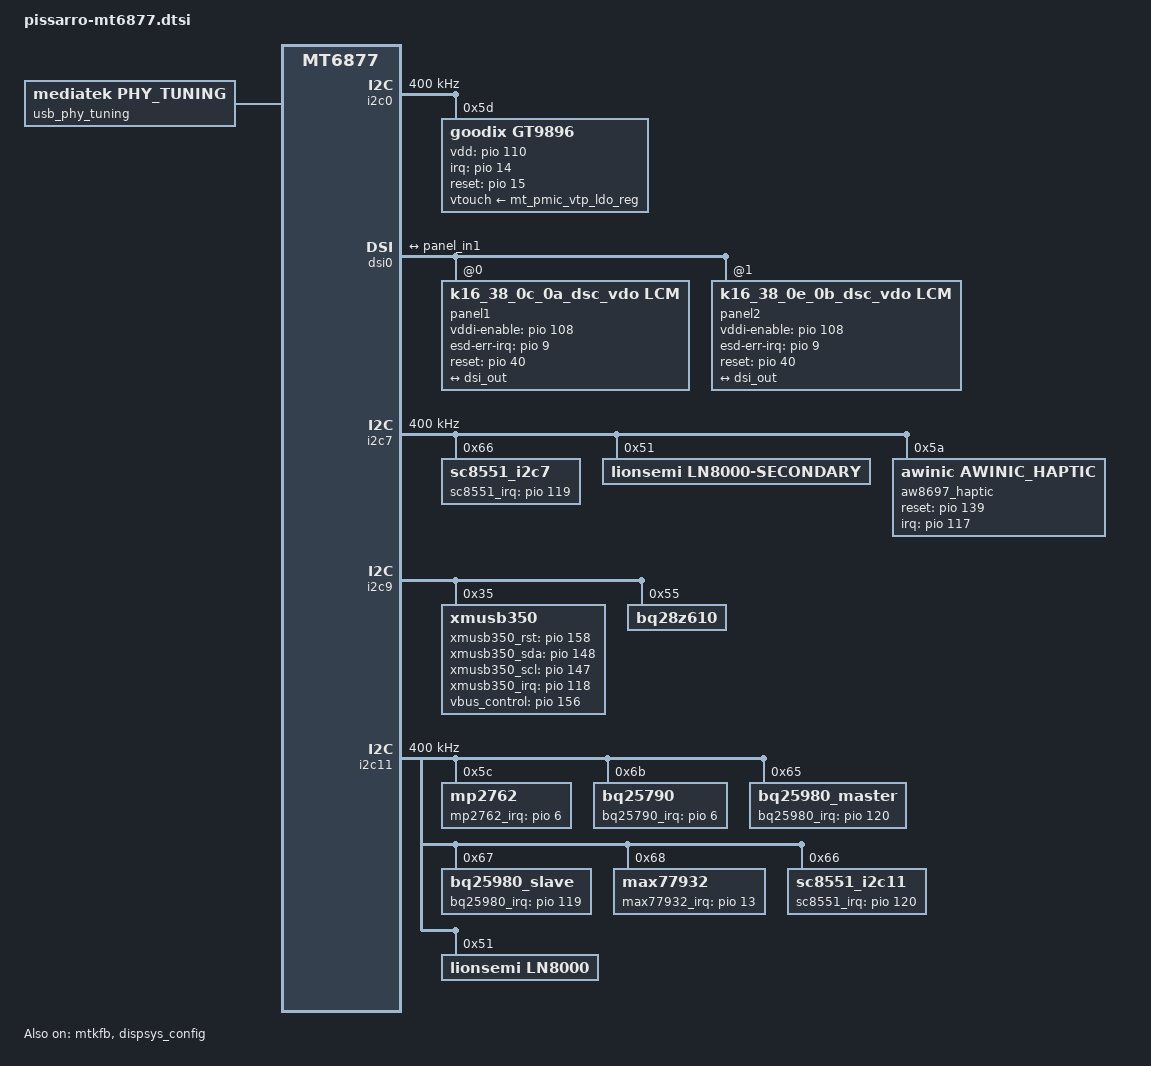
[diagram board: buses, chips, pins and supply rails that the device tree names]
/*
this file is only for attribution of pissarro
*/
#include "mediatek/xiaomi-mt6877-common.dtsi"


&odm {
	thermal_message: thermal-message {
		board-sensor = "VIRTUAL-SENSOR";
	};
};

&i2c0 {
	clock-frequency = <400000>;

	gt9896@5d {
		compatible = "goodix,gt9896";
		reg = <0x5d>;
		status = "ok";
		mediatek,kthread-rt = <1>;
		interrupt-parent = <&pio>;
		interrupts = <14 IRQ_TYPE_EDGE_FALLING 14 0>;
		pinctrl-names = "pmx_ts_active", "pmx_ts_suspend", "pmx_ts_boot";
		//pinctrl-names = "pmx_ts_active", "pmx_ts_suspend";
		//pinctrl-0 = <&ctp_gt9896_ts_int_active &ctp_gt9896_ts_reset_active>;
		pinctrl-0 = <&ctp_gt9896_ts_int_active>;
		pinctrl-1 = <&ctp_gt9896_ts_int_suspend &ctp_gt9896_ts_reset_suspend>;
		pinctrl-2 = <&ctp_gt9896_ts_int_boot>;
		vtouch-supply = <&mt_pmic_vtp_ldo_reg>;//3v3
		goodix,vdd-gpio = <&pio 110 0x0>;//1v8
		goodix,avdd-name = "vtouch";
		goodix,irq-gpio = <&pio 14 0x0>;
		goodix,reset-gpio = <&pio 15 0x0>;
		goodix,irq-flags = <2>; /* 1:rising, 2:falling;*/
		goodix,panel-max-id = <10>;
		goodix,panel-max-w = <256>;
		goodix,panel-max-p = <256>;
		goodix,panel-max-x = <8640>;
		goodix,panel-max-y = <19200>;
		//goodix,panel-key-map = <158 172 217>; /*BACK,HOMEPAGE,SEARCH*/
		goodix,power-on-delay-us = <100>; /*10ms*/
		goodix,power-off-delay-us = <5000>;
		goodix,firmware-version = "6885b1";
		goodix,config-version = "6885v9c";
		/*goodix,swap-axis;*/
		/*goodix,x2x;*/
		/*goodix,y2y;*/
		//goodix,pen-enable;
		//goodix,key-of-pen = <331 332>;/*BTN_STYLUS, BTN_STYLUS2*/
		tpd-filter-enable = <0>;
		tpd-filter-pixel-density = <161>;
		tpd-filter-custom-prameters = <0 0 0 0 0 0 0 0 0 0 0 0>;
		tpd-filter-custom-speed = <0 0 0>;
		/*new touch faeature default param*/
		goodix,touch-game-param-config1 = <3 3 1 3>;
		goodix,touch-game-param-config2 = <2 4 2 3>;
		goodix,touch-game-param-config3 = <4 4 3 1>;
		sensor0 {
			normal-cfg = [
			];
		};
	};
};

&pio {
	ctp_pins_default_gt9896: eintdefault {
	};
	ctp_gt9896_ts_int_active: int_active {
		pins_cmd_dat {
			pinmux = <PINMUX_GPIO14__FUNC_GPIO14>;
			slew-rate = <0>;
			bias-disable;
			/*bias-pull-up = <11>;*/
		};
	};
	//ctp_gt9896_ts_reset_active: reset_active {
	//	pins_cmd_dat {
	//		pinmux = <PINMUX_GPIO15__FUNC_GPIO15>;
	//		slew-rate = <1>;
	//		output-high;
	//	};
	//};
	ctp_gt9896_ts_int_suspend: int_suspend {
		pins_cmd_dat {
			pinmux = <PINMUX_GPIO14__FUNC_GPIO14>;
			slew-rate = <1>;
			output-low;
		};
	};
	ctp_gt9896_ts_reset_suspend: reset_suspend {
		pins_cmd_dat {
			pinmux = <PINMUX_GPIO15__FUNC_GPIO15>;
			slew-rate = <1>;
			output-low;
		};
	};
	ctp_gt9896_ts_int_boot: int_boot {
		pins_cmd_dat {
			pinmux = <PINMUX_GPIO14__FUNC_GPIO14>;
			slew-rate = <0>;
			bias-disable;
		};
	};
};

&pio {
	// ln8000-master
	ln8000_master_int_default: ln8000_master_int_default {
		pins_cmd_dat {
			pinmux = <PINMUX_GPIO120__FUNC_GPIO120>;
			slew-rate = <0>;
			bias-pull-up = <11>;
		};
	};

	ln8000_master_int_suspend: ln8000_master_int_suspend {
		pins_cmd_dat {
			pinmux = <PINMUX_GPIO120__FUNC_GPIO120>;
			slew-rate = <0>;
			bias-pull-up = <11>;
		};
	};

	// ln8000-slave
	ln8000_slave_int_default: ln8000_slave_int_default {
		pins_cmd_dat {
			pinmux = <PINMUX_GPIO119__FUNC_GPIO119>;
			slew-rate = <0>;
			bias-pull-up = <11>;
		};
	};

	ln8000_slave_int_suspend: ln8000slave_int_suspend {
		pins_cmd_dat {
			pinmux = <PINMUX_GPIO119__FUNC_GPIO119>;
			slew-rate = <0>;
			bias-pull-up = <11>;
		};
	};

	xmusb350_rst_normal: xmusb350_rst_normal {
		pins_cmd_dat {
			pinmux = <PINMUX_GPIO158__FUNC_GPIO158>;
			slew-rate = <1>;
			bias-disable;
			output-low;
		};
	};

	xmusb350_rst_isp: xmusb350_rst_isp {
		pins_cmd_dat {
			pinmux = <PINMUX_GPIO158__FUNC_GPIO158>;
			slew-rate = <1>;
			bias-disable;
			output-low;
		};
	};

	xmusb350_sda_normal: xmusb350_sda_normal {
		pins_cmd_dat {
			pinmux = <PINMUX_GPIO148__FUNC_SDA9>;
			slew-rate = <0>;
			bias-pull-up = <11>;
			input-enable;
		};
	};

	xmusb350_sda_isp: xmusb350_sda_isp {
		pins_cmd_dat {
			pinmux = <PINMUX_GPIO148__FUNC_GPIO148>;
			slew-rate = <1>;
			bias-disable;
			output-low;
		};
	};

	xmusb350_scl_normal: xmusb350_scl_normal {
		pins_cmd_dat {
			pinmux = <PINMUX_GPIO147__FUNC_SCL9>;
			slew-rate = <0>;
			bias-pull-up = <11>;
			input-enable;
		};
	};

	xmusb350_scl_isp: xmusb350_scl_isp {
		pins_cmd_dat {
			pinmux = <PINMUX_GPIO147__FUNC_GPIO147>;
			slew-rate = <1>;
			bias-disable;
			output-low;
		};
	};

	i2c11_sda_default: i2c11_sda_default {
		pins_cmd_dat {
			pinmux = <PINMUX_GPIO63__FUNC_SDA11>;
			input-enable;
		};
	};

	i2c11_sda_gpio: i2c11_sda_gpio {
		pins_cmd_dat {
			pinmux = <PINMUX_GPIO63__FUNC_GPIO63>;
			output-low;
		};
	};
};

&mtkfb {
	pinctrl-names = "lcm_rst_out1_gpio", "lcm_rst_out0_gpio",
		"mode_te_te", "err_flag_init";
	pinctrl-0 = <&mtkfb_pins_lcm_rst_out1_gpio>;
	pinctrl-1 = <&mtkfb_pins_lcm_rst_out0_gpio>;
	pinctrl-2 = <&mtkfb_pins_lcm_dsi_te>;
	pinctrl-3 = <&mtkfb_pins_lcm_err_flag>;
	status = "okay";
};

&dispsys_config {
	pinctrl-names =
		"lcm_rst_out1_gpio", "lcm_rst_out0_gpio",
		"mode_te_te", "err_flag_init";
	pinctrl-0 = <&mtkfb_pins_lcm_rst_out1_gpio>;
	pinctrl-1 = <&mtkfb_pins_lcm_rst_out0_gpio>;
	pinctrl-2 = <&mtkfb_pins_lcm_dsi_te>;
	pinctrl-3 = <&mtkfb_pins_lcm_err_flag>;
	status = "okay";
};

&dsi0 {
	status = "okay";
	#address-cells = <1>;
	#size-cells = <0>;
	panel1@0 {
		compatible = "k16_38_0c_0a_dsc_vdo,lcm";
		reg = <0>;
		vddi-enable-gpios = <&pio 108 0>;
		mi,esd-err-irq-gpio = <&pio 9 0x2002>;
		reset-gpios = <&pio 40 0>;
		pinctrl-names = "default";
		port {
			panel_in1: endpoint {
				remote-endpoint = <&dsi_out>;
			};
		};
	};
	panel2@1 {
		compatible = "k16_38_0e_0b_dsc_vdo,lcm";
		reg = <1>;
		vddi-enable-gpios = <&pio 108 0>;
		mi,esd-err-irq-gpio = <&pio 9 0x2002>;
		reset-gpios = <&pio 40 0>;
		pinctrl-names = "default";
		port {
			panel_in2: endpoint {
				remote-endpoint = <&dsi_out>;
			};
		};
	};
	ports {
		port {
			dsi_out: endpoint {
				remote-endpoint = <&panel_in1>;
			};
		};
	};
};

&bat_gm30 {
	DISABLE_MTKBATTERY = <(1)>;
	use-ti-gauge;
};

&i2c7 {
	sc8551_i2c7@66 {
		compatible = "sc8551_i2c7";
		reg = <0x66>;
		sc8551_irq_gpio = <&pio 119 0x0>;
		ac_ovp = <13000>;
		bus_ovp = <12300>;
		bus_ocp = <4500>;
		bat_ovp = <5000>;
		bat_ocp = <8000>;
	};

	ln8000-secondary@51 {
		compatible = "lionsemi,ln8000-secondary";
		reg = <0x51>;
		pinctrl-names = "ln8000_slave_irq";
		pinctrl-0 = <&ln8000_slave_int_default &ln8000_slave_int_suspend>;

		charger_name = "quaternary_chg";
		/* bank <bit-idx> <flags: active-low> */
		//irq-gpios = <&tlmm 55 0x2002>;

		//interrupt-parent = <&tlmm>;
		//interrupts = <55 0x2002>;
		//pinctrl-names = "default";
		//pinctrl-0 = <&ln8000_int_default &ln8000_int_suspend>;
		//ln8000_charger,irq_index = <296>;
		/* device configuration */
		ln8000_charger,bat-ovp-threshold = <4660>;
		ln8000_charger,bat-ovp-alarm-threshold = <4625>;
		ln8000_charger,bus-ovp-threshold = <13000>;
		ln8000_charger,bus-ovp-alarm-threshold = <11000>;
		ln8000_charger,bus-ocp-threshold = <3750>;
		ln8000_charger,bus-ocp-alarm-threshold = <3500>;
		ln8000_charger,ntc-alarm-cfg  = <226>;
		/* protection enable/disable flags
		 *   vbat-ovp-disable
		 *   vbat-reg-disable
		 *   iin-ocp-disable
		 *   iin-reg-disable
		 *   tbus-mon-disable
		 *   tbat-mon-disable
		 *   tdie-prot-disable
		 *   tdie-reg-disable
		 *   revcurr-prot-disable
		 */
		ln8000_charger,tdie-prot-disable;
		ln8000_charger,tbus-mon-disable;
		ln8000_charger,tbat-mon-disable;
		ln8000_charger,iin-ocp-disable;
		ln8000_charger,iin-reg-disable;
		ln8000_charger,tdie-reg-disable;
		ln8000_charger,vbat-reg-disable;
	};
};

&i2c9 {
	xmusb350@35 {
		compatible = "xmusb350";
		reg = <0x35>;
		pinctrl-names = "xmusb350_normal", "xmusb350_isp";
		pinctrl-0 = <&xmusb350_rst_normal &xmusb350_sda_normal &xmusb350_scl_normal>;
		pinctrl-1 = <&xmusb350_rst_isp &xmusb350_sda_isp &xmusb350_scl_isp>;
		xmusb350_rst_gpio = <&pio 158 0x00>;
		xmusb350_sda_gpio = <&pio 148 0x00>;
		xmusb350_scl_gpio = <&pio 147 0x00>;
		xmusb350_irq_gpio = <&pio 118 0x0>;
		vbus_control_gpio = <&pio 156 0x0>;
	};

	bq28z610@55 {
		compatible = "bq28z610";
		reg = <0x55>;
		enable_shutdown_delay;
		normal_shutdown_vbat_1s = <3400>;
		critical_shutdown_vbat_1s = <3340>;
		report_full_rsoc_1s = <9700>;
		soc_gap_1s = <2>;
		normal_shutdown_vbat_2s = <6800>;
		critical_shutdown_vbat_2s = <6680>;
		report_full_rsoc_2s = <9470>;
		soc_gap_2s = <4>;
		soc_decimal_rate = <
			0  38
			10 35
			20 33
			30 33
			40 33
			50 33
			60 33
			70 30
			80 25
			90 20
			95 10 >;
	};
};

&i2c11 {
	clock-frequency = <400000>;

	mp2762@5c {
		compatible = "mp2762";
		reg = <0x5c>;
		mp2762_irq_gpio = <&pio 6 0x0>;
		iprechg = <240>;
		vprechg = <6000>;
		iterm = <100>;
		iterm_ffc = <700>;
		fv = <8900>;
		fv_ffc = <8950>;
		vinmin = <4700>;
	};

	bq25790@6b {
		compatible = "bq25790";
		reg = <0x6b>;
		bq25790_irq_gpio = <&pio 6 0x0>;
		precharge-current = <160>;
		termi-curr = <200>;
		safe_timer_en = <1>;
		safe_timer = <12>;
		presafe_timer = <120>;
		vac_ovp = <26>;
		cell_num = <2>;
		vsys_min = <6400>;
	};

	bq25980_master@65 {
		compatible = "bq25980_master";
		reg = <0x65>;
		bq25980_irq_gpio = <&pio 120 0x0>;
		pinctrl-names = "i2c11_sda_default", "i2c11_sda_gpio";
		pinctrl-0 = <&i2c11_sda_default>;
		pinctrl-1 = <&i2c11_sda_gpio>;
		status = "okay";
	};

	bq25980_slave@67 {
		compatible = "bq25980_slave";
		reg = <0x67>;
		bq25980_irq_gpio = <&pio 119 0x0>;
	};

	max77932@68 {
		compatible = "max77932";
		reg = <0x68>;
		max77932_irq_gpio = <&pio 13 0x0>;
	};

	sc8551_i2c11@66 {
		compatible = "sc8551_i2c11";
		reg = <0x66>;
		sc8551_irq_gpio = <&pio 120 0x0>;
		ac_ovp = <13000>;
		bus_ovp = <12300>;
		bus_ocp = <4500>;
		bat_ovp = <5000>;
		bat_ocp = <8000>;
	};

	ln8000@51 {
		compatible = "lionsemi,ln8000";
		reg = <0x51>;
		/* bank <bit-idx> <flags: active-low> */
		//irq-gpios = <&tlmm 55 0x2002>;
		pinctrl-names = "ln8000_master_irq";
		pinctrl-0 = <&ln8000_master_int_default &ln8000_master_int_suspend>;

		charger_name = "tertiary_chg";

		//interrupt-parent = <&tlmm>;
		//interrupts = <55 0x2002>;
		//pinctrl-names = "default";
		//pinctrl-0 = <&ln8000_int_default ln8000_int_suspend>;
		ln8000_charger,irq_index = <296>;
		/* device configuration */
		ln8000_charger,bat-ovp-threshold = <4660>;
		ln8000_charger,bat-ovp-alarm-threshold = <4625>;
		ln8000_charger,bus-ovp-threshold = <13000>;
		ln8000_charger,bus-ovp-alarm-threshold = <11000>;
		ln8000_charger,bus-ocp-threshold = <3750>;
		ln8000_charger,bus-ocp-alarm-threshold = <3500>;
		ln8000_charger,ntc-alarm-cfg  = <226>;
		/* protection enable/disable flags
		 *   vbat-ovp-disable
		 *   vbat-reg-disable
		 *   iin-ocp-disable
		 *   iin-reg-disable
		 *   tbus-mon-disable
		 *   tbat-mon-disable
		 *   tdie-prot-disable
		 *   tdie-reg-disable
		 *   revcurr-prot-disable
		 */
		ln8000_charger,tdie-prot-disable;
		ln8000_charger,tbus-mon-disable;
		ln8000_charger,tbat-mon-disable;
		ln8000_charger,iin-ocp-disable;
		ln8000_charger,iin-reg-disable;
		ln8000_charger,tdie-reg-disable;
		ln8000_charger,vbat-reg-disable;
	};
};

&pissarro_charger {
	algorithm_name = "SwitchCharging2";

	vbus_control_gpio = <&pio 156 0x0>;
	fv = <4450>;
	fv_ffc = <4490>;
	iterm = <200>;
	iterm_ffc = <800>;
	max_fcc = <12400>;
	max_ibus = <6200>;
	ffc_low_tbat = <150>;
	ffc_high_tbat = <480>;
	ffc_medium_tbat = <350>;
	ffc_high_soc = <92>;

	step_fallback_hyst = <25>;
	step_forward_hyst = <5>;
	jeita_fallback_hyst = <5>;
	jeita_forward_hyst = <5>;

	jeita_fcc_cfg = <(-100)	0	4200	1000	759
			1	50	4200	2530	2530
			51	100	4200	3540	3540
			101	150	4200	6070	6070
			151	480	4200	12400	12400
			481	600	4200	2530	2530>;

	jeita_fv_cfg = <(-100)	0	4450
			1	50	4450
			51	100	4450
			101	150	4450
			151	480	4490
			481	600	4100>;

	step_chg_cfg = <3000	3595	12300
			3596	4195	12300
			4196	4295	9130
			4296	4395	7600
			4396	4465	6050
			4466	4478	1100>;

	thermal_limit_dcp = <1800 1800 1800 1800 1800 1800 1800 1800 1800 1800 1800 1800 1700 1600 1400 1200>;
	thermal_limit_qc2 = <2000 2000 2000 2000 2000 2000 1400 1300 1200 1100 1000 900 800 700 600 500>;
	thermal_limit_qc3_18w = <3500 3500 3500 3400 3300 3300 3200 3100 3000 2800 2600 2400 2200 2000 1000 700>;
	thermal_limit_qc3_27w = <5400 5000 4700 4300 4000 3600 3400 3400 3400 3200 2500 2200 2000 1300 1000 700>;
	thermal_limit_qc35 = <4400 4200 4000 3800 3600 3400 3200 3100 3000 2800 2600 2400 2200 2000 1000 700>;
	thermal_limit_pd = <12400 11000 9700 8800 8000 7500 7000 6800 6500 6000 5000 4000 3000 2000 1000 500>;
};

&pissarropro_charger {
	algorithm_name = "SwitchCharging2";

	fv = <8900>;
	fv_ffc = <8950>;
	iterm = <100>;
	iterm_ffc = <700>;
	max_fcc = <11000>;
	max_ibus = <6200>;
	ffc_low_tbat = <150>;
	ffc_high_tbat = <480>;
	ffc_medium_tbat = <350>;
	ffc_high_soc = <95>;

	step_fallback_hyst = <25>;
	step_forward_hyst = <5>;
	jeita_fallback_hyst = <5>;
	jeita_forward_hyst = <5>;

	jeita_fcc_cfg = <(-100)	0	8300	1090	440
			1	50	8300	1530	1530
			51	100	8300	2620	2620
			101	150	8300	4360	4360
			151	480	8300	11000	11000
			481	600	8300	1090	1090>;

	jeita_fv_cfg = <(-100)	0	8900
			1	50	8900
			51	100	8900
			101	150	8900
			151	480	8950
			481	600	8200>;

	step_chg_cfg_low_cycle = <6000	8295	11000
				8296	8355	10000
				8356	8695	8000
				8696	8895	6540
				8896	8947	4360
				8948	8956	1100>;

	step_chg_cfg_normal_cycle = <6000	8255	11000
					8256	8295	10000
					8296	8695	8000
					8696	8895	6540
					8896	8947	4360
					8948	8956	1100>;

	step_chg_cfg_high_cycle = <6000	8195	11000
				8196	8235	10000
				8236	8695	8000
				8696	8895	6540
				8896	8947	4360
				8948	8956	1100>;

	thermal_limit_dcp = <1800 1800 1800 1800 1800 1800 1800 1800 1800 1800 1800 1800 1700 1600 1400 1200>;
	thermal_limit_qc2 = <2000 2000 2000 2000 2000 2000 1400 1300 1200 1100 1000 900 800 700 600 500>;
	thermal_limit_qc3_18w = <3500 3500 3500 3400 3300 3300 3200 3100 3000 2800 2600 2400 2200 2000 1000 700>;
	thermal_limit_qc3_27w = <5400 5000 4700 4300 4000 3600 3400 3400 3400 3200 2500 2200 2000 1300 1000 700>;
	thermal_limit_qc35 = <4400 4200 4000 3800 3600 3400 3200 3100 3000 2800 2600 2400 2200 2000 1000 700>;
	thermal_limit_pd = <11000 10000 9500 9000 8500 8000 7500 7000 6500 6000 5000 4000 3000 2000 1000 500>;
};

&pissarro_qc_cp_manager {
	compatible = "pissarro_qc_cp_manager";
	max_vbus = <12000>;
	max_ibus_qc3_18w = <2200>;
	max_ibat_qc3_18w = <3500>;
	max_ibus_qc3_27w = <3000>;
	max_ibat_qc3_27w = <5400>;
	max_ibus_qc35 = <2500>;
	max_ibat_qc35 = <4400>;
	tune_step_ibat_qc3_27 = <1400>;
	tune_step_ibat_qc3_18 = <1900>;
	tune_step_ibat_qc35 = <200>;
	tune_step_ibus_qc3_27 = <700>;
	tune_step_ibus_qc3_18 = <950>;
	tune_step_ibus_qc35 = <50>;
	high_soc = <92>;
	cv_vbat = <4410>;
	cv_vbat_ffc = <4450>;
	cv_ibat = <1800>;
};

&pissarro_pd_cp_manager {
	compatible = "pissarro_pd_cp_manager";
	fv = <4450>;
	fv_ffc = <4480>;
	max_fcc = <12400>;
	max_vbus = <12000>;
	max_ibus = <6200>;
	fcc_low_hyst = <100>;
	fcc_high_hyst = <10>;
	low_tbat = <100>;
	high_tbat = <480>;
	high_vbat = <4300>;
	high_soc = <92>;
	cv_vbat = <4430>;
	cv_vbat_ffc = <4460>;
	cv_ibat = <1350>;
	vbus_low_gap = <400>;
	vbus_high_gap = <600>;
	min_pdo_vbus = <8000>;
	max_pdo_vbus = <11000>;
	max_bbc_vbus = <12000>;
	min_bbc_vbus = <9000>;
	pd_power_max = <67>; /*charge power max : 67W */
};

&pissarropro_pd_cp_manager {
	compatible = "pissarropro_pd_cp_manager";
	fv = <8900>;
	fv_ffc = <8960>;
	max_fcc = <11000>;
	max_vbus = <20000>;
	max_ibus = <6200>;
	fcc_low_hyst = <70>;
	fcc_high_hyst = <10>;
	low_tbat = <100>;
	high_tbat = <480>;
	high_vbat = <8600>;
	high_soc = <95>;
	cv_vbat = <8880>;
	cv_vbat_ffc = <8940>;
	cv_ibat = <1200>;
	vbus_low_gap = <650>;
	vbus_high_gap = <750>;
	min_pdo_vbus = <18000>;
	max_pdo_vbus = <21000>;
	max_bbc_vbus = <15000>;
	min_bbc_vbus = <10000>;
	pd_power_max = <120>; /*charge power max : 120W */
};

&usb0phy {
	usb_phy_tuning {
		compatible = "mediatek,phy_tuning";
		u2_vrt_ref  = <6>;
		u2_term_ref = <6>;
		u2_enhance  = <3>;
		u2_intr_cal = <18>;
		u2_discth  = <15>;
	};
};
/* AW8697 Haptic start */
&pio {
	awinic_reset_low: awinic_reset_reset {
		pins_cmd_dat {
			pinmux = <PINMUX_GPIO139__FUNC_GPIO139>;
			drive-strength = <2>;
			bias-disable;
			output-low;
		};
	};
	awinic_reset_high: awinic_reset_active {
		pins_cmd_dat {
			pinmux = <PINMUX_GPIO139__FUNC_GPIO139>;
			drive-strength = <2>;
			bias-disable;
			output-high;
		};
	};
	awinic_interrupt: awinic_interrupt_active {
		pins_cmd_dat {
			pinmux = <PINMUX_GPIO117__FUNC_GPIO117>;
			drive-strength = <2>;
			bias-pull-up;
			input-enable;
		};
	};
};

&i2c7 {
        clock-frequency = <400000>;
	status = "ok";
        aw8697_haptic@5a {
		compatible = "awinic,awinic_haptic";
		reg = <0x5A>;
		reset-gpio = <&pio 139 0>;
		irq-gpio = <&pio 117 0>;
		pinctrl-names = "awinic_reset_reset","awinic_reset_active","awinic_interrupt_active";
		pinctrl-0 = <&awinic_reset_low>;
		pinctrl-1 = <&awinic_reset_high>;
		pinctrl-2 = <&awinic_interrupt>;
		/*----------------------aw8697----------------------*/
		aw8697_vib_mode = < 0 >; /*mode:   RAM mode->0; CONT mode -> 1*/
		aw8697_vib_f0_pre = < 1700 >;
		aw8697_vib_f0_cali_percen = < 7 >;
		aw8697_vib_cont_drv_lev = < 60 >;
		aw8697_vib_cont_drv_lvl_ov = < 60 >;
		aw8697_vib_cont_td = < 0xef >;
		aw8697_vib_cont_zc_thr = < 0x08f8 >;  /*hq 0x08F8 */
		aw8697_vib_cont_num_brk = < 3 >;
		aw8697_vib_f0_coeff = < 260 >; /*Don't modify it 2.604167*/
		aw8697_vib_f0_trace_parameter = < 9 3 1 31 >;
		aw8697_vib_bemf_config = < 0 0x08 0x03 0xf8 >;
		aw8697_vib_sw_brake = < 0x2c >;
		aw8697_vib_tset = < 0x1a >;
		aw8697_vib_r_spare = < 0x68 >;
		aw8697_vib_bstdbg = < 0x30 0xeb 0xd4 0 0 0 >;
		aw8697_vib_trig_config = < 0 1 0 1 2
					   0 1 0 1 2
					   0 1 0 1 2 >;
		aw8697_vib_bst_vol_default = < 0x0e >;
		aw8697_vib_bst_vol_ram = < 0x0e >;
		aw8697_vib_bst_vol_rtp = < 0x0e >;
		/*----------------------aw8692x----------------------*/
		aw86927_vib_mode = < 0 >; /* mode: RAM mode->0; CONT mode->1 */
		aw86927_vib_f0_pre = < 1700 >;
		aw86927_vib_f0_cali_percen = < 7 >;
		aw86927_vib_cont_drv1_lvl = < 0x7F >;
		aw86927_vib_cont_drv2_lvl = < 0x29 >;
		aw86927_vib_cont_drv1_time = < 0x04 >;
		aw86927_vib_cont_drv2_time = < 0x06 >;
		aw86927_vib_cont_drv_width = < 0x6A >;
		aw86927_vib_cont_wait_num = < 0x06 >;
		aw86927_vib_cont_brk_time = < 0x08 >;
		aw86927_vib_cont_track_margin = < 0x0C >;
		aw86927_vib_brk_bst_md = < 0 >;
		aw86927_vib_cont_tset = < 0x06 >;
		aw86927_vib_cont_bemf_set = < 0x02 >;
		aw86927_vib_cont_bst_brk_gain = < 0x05 >;
		aw86927_vib_cont_brk_gain = < 0x08 >;
		aw86927_vib_d2s_gain = < 0x04 >;
		aw86927_vib_trig_config = < 1 0 1 1 1 2 0 0
					    1 0 0 1 0 2 0 0
					    1 0 0 1 0 2 0 0 >;
		aw86927_vib_bst_vol_default = < 0x47 >;
		aw86927_vib_bst_vol_ram = < 0x47 >;
		aw86927_vib_bst_vol_rtp = < 0x47 >;
		/*--------------------common--------------------*/
		vib_effect_id_boundary = < 10 >;
		vib_effect_max = < 197 >; /*vib_effect_max must bigger than vib_effect_id*/
		vib_rtp_time = < 20 20 20 20 20 20 20 20 20000 15000
				15000 20000 25000 15000 30000 25000 20000 20000 20000 20000
				20000 20000 20000 20000 20000 20000 20000 20000 20000 20000
				20000 20000 20000 20000 20000 20000 20000 20000 20000 20000
				20000 20000 20000 20000 20000 20000 20000 20000 20000 20000
				20000 20000 20000 20000 20000 20000 20000 20000 20000 20000
				20000 20000 20000 20000 20000 20000 20000 20000 20000 20000
				20000 20000 20000 20000 20000 20000 20000 20000 20000 20000
				20000 20000 20000 20000 20000 20000 20000 20000 20000 20000
				20000 20000 20000 20000 20000 20000 20000 20000 20000 20000
				20000 20000 20000 20000 20000 20000 20000 20000 20000 20000
				20000 20000 20000 20000 20000 20000 20000 20000 20000 20000
				20000 20000 20000 20000 20000 20000 20000 20000 20000 20000
				20000 20000 20000 20000 20000 20000 20000 20000 20000 20000
				20000 20000 20000 20000 20000 20000 20000 20000 20000 20000
				20000 20000 20000 20000 20000 20000 20000 20000 20000 20000
				20000 20000 20000 20000 20000 20000 20000 20000 20000 20000
				20000 20000 20000 20000 20000 >;
		status = "ok";
		wf_0 {
			/*CLICK*/
			mtk,effect-id = <0>;
			mtk,wf-vmax-mv = <3600>;
			mtk,wf-pattern = [3e 3e];
			mtk,wf-brake-pattern = [02 01 00 00];
			mtk,wf-play-rate-us = <20000>;
		};
		wf_1 {
			/*DOUBLE CLICK*/
			mtk,effect-id = <1>;
			mtk,wf-vmax-mv = <3600>;
			mtk,wf-pattern = [7e 3e];
			mtk,wf-brake-pattern = [03 01 00 00];
			mtk,wf-play-rate-us = <20000>;
		};
		wf_2 {
			/*TICK*/
			mtk,effect-id = <2>;
			mtk,wf-vmax-mv = <3600>;
			mtk,wf-pattern = [7e 3e];
			mtk,wf-brake-pattern = [02 01 00 00];
			mtk,wf-play-rate-us = <20000>;
		};
		wf_3 {
			/*THUD*/
			mtk,effect-id = <3>;
			mtk,wf-vmax-mv = <3600>;
			mtk,wf-pattern = [3e 3e];
			mtk,wf-brake-pattern = [02 01 00 00];
			mtk,wf-play-rate-us = <20000>;
		};
		wf_4 {
			/*POP*/
			mtk,effect-id = <4>;
			mtk,wf-vmax-mv = <3600>;
			mtk,wf-pattern = [3e 3e];
			mtk,wf-brake-pattern = [02 01 00 00];
			mtk,wf-play-rate-us = <28000>;
		};
		wf_5 {
			/*HEAVY CLICK*/
			mtk,effect-id = <5>;
			mtk,wf-vmax-mv = <3600>;
			mtk,wf-pattern = [7e 7e 7e];
			mtk,wf-brake-pattern = [03 03 01 00];
			mtk,wf-play-rate-us = <20000>;
		};
		wf_6 {
			/*id 6*/
			mtk,effect-id = <6>;
			mtk,wf-vmax-mv = <3600>;
			mtk,wf-pattern = [3e 3e];
			mtk,wf-brake-pattern = [02 01 00 00];
			mtk,wf-play-rate-us = <20000>;
		};
		wf_7 {
			/*id 7*/
			mtk,effect-id = <7>;
			mtk,wf-vmax-mv = <3600>;
			mtk,wf-pattern = [3e 3e];
			mtk,wf-brake-pattern = [02 01 00 00];
			mtk,wf-play-rate-us = <20000>;
		};
		wf_8 {
			/*id 8*/
			mtk,effect-id = <8>;
			mtk,wf-vmax-mv = <3600>;
			mtk,wf-pattern = [3e 3e];
			mtk,wf-brake-pattern = [02 01 00 00];
			mtk,wf-play-rate-us = <20000>;
		};
		wf_9 {
			/*id 9*/
			mtk,effect-id = <9>;
			mtk,wf-vmax-mv = <3600>;
			mtk,wf-pattern = [3e 3e];
			mtk,wf-brake-pattern = [02 01 00 00];
			mtk,wf-play-rate-us = <20000>;
		};
	};
};
/* AW8697 Haptic end */

&tboard_thermistor6 {
	thermal_rename = "charger_therm";
};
